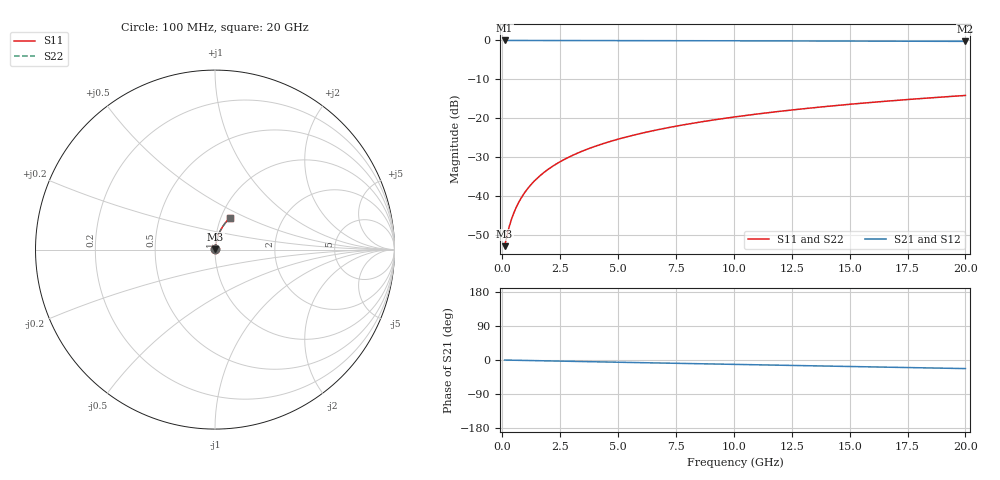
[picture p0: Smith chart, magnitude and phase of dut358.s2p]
! Touchstone file exported from HFSS 2026.1.0
!  File:  C:/ffzhzh/LocalFiles/Ansys_Project_Files/temp_train_BSMRDL_358_1783011541_51716.aedt
!  Generated:  01:00:28 AM Jul  3, 2026
!  Design:  BSMRDL
!  Project:  temp_train_BSMRDL_358_1783011541_51716
! Variables:
!  h_bsmrdl = 5.51um
!  h_ox = 20um
!  h_rdl = 5um
!  h_sub = 80um
!  h_tmrdl = 5um
!  h_tsv = 80um
!  h_via = 3um
!  l_bsmrdl = 343.17um
!  l_sub = 743.17um
!  l_tmrdl = 200um
!  m_sub = 200um
!  pitch = 28.2um
!  r_tsv = 6um
!  s_tmrdl = 10um
!  w_bsmrdl = 12.21um
!  w_sub = 500um
!  w_tmrdl = 12um
!  x_tsv_center1 = 206um
!  x_tsv_center2 = 561.38um
!  x_tsv_center3 = 773.38um
!  x_tsv_center4 = 1128.76um
!  x_tsv_center5 = 1340.76um
!  x_tsv_center6 = 1696.14um
# GHz S MA R 50.000000
! Terminal data exported
! Port[1] = BSM_RDL1_1_T1
! Port[2] = BSM_RDL1_1_T2
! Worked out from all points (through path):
!   200 points, 100 MHz to 20 GHz, reference 50 ohm
!   highest |S21| = -0.02 dB at 100 MHz (marker M1); lowest = -0.2 dB at 20 GHz (marker M2)
!   group delay of S21, straight-line fit = 3.14 ps
!   lowest |S11| = -53.0 dB at 100 MHz (marker M3), VSWR 1.00, Z = 50.2 + j0.12 ohm
!   |S11| at or under -10 dB: start of sweep to end of sweep
!   |S22| runs from -53.0 to -14.2 dB; largest |S21 - S12| = 3.2e-15
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0.1  0.002243 32.1  0.9981 -0.1  0.9981 -0.1  0.002243 32.1
! Gamma 0 0 0 0
! Port Impedance 50 0 50 0
0.2  0.003062 49.8  0.998 -0.2  0.998 -0.2  0.003062 49.8
0.3  0.004013 59.2  0.998 -0.4  0.998 -0.4  0.004013 59.2
0.4  0.00501 64.9  0.9979 -0.5  0.9979 -0.5  0.00501 64.9
0.5  0.006031 68.8  0.9978 -0.6  0.9978 -0.6  0.006031 68.8
0.6  0.00707 71.5  0.9978 -0.7  0.9978 -0.7  0.007071 71.5
0.8  0.009182 75.1  0.9977 -1.0  0.9977 -1.0  0.009182 75.1
1  0.01132 77.2  0.9976 -1.2  0.9976 -1.2  0.01132 77.2
1.2  0.01347 78.6  0.9975 -1.4  0.9975 -1.4  0.01347 78.6
1.4  0.01563 79.5  0.9974 -1.7  0.9974 -1.7  0.01563 79.5
1.7  0.01886 80.3  0.9973 -2.0  0.9973 -2.0  0.01886 80.3
2.2  0.02424 80.9  0.9969 -2.6  0.9969 -2.6  0.02424 80.9
2.8  0.03063 80.9  0.9965 -3.3  0.9965 -3.3  0.03063 80.9
3.5  0.03801 80.6  0.9958 -4.1  0.9958 -4.1  0.03801 80.6
4.2  0.04528 80.2  0.9951 -5.0  0.9951 -5.0  0.04528 80.2
5  0.0535 79.5  0.9943 -5.9  0.9943 -5.9  0.0535 79.5
6.8  0.07164 77.9  0.9922 -7.9  0.9922 -7.9  0.07164 77.9
8.3  0.08649 76.5  0.9904 -9.7  0.9904 -9.7  0.08649 76.5
10.1  0.104 74.7  0.9881 -11.7  0.9881 -11.7  0.104 74.7
13.4  0.1355 71.4  0.9833 -15.4  0.9833 -15.4  0.1355 71.4
16.7  0.166 68.1  0.9778 -19.0  0.9778 -19.0  0.166 68.1
20  0.1954 64.7  0.9717 -22.7  0.9717 -22.7  0.1954 64.7
